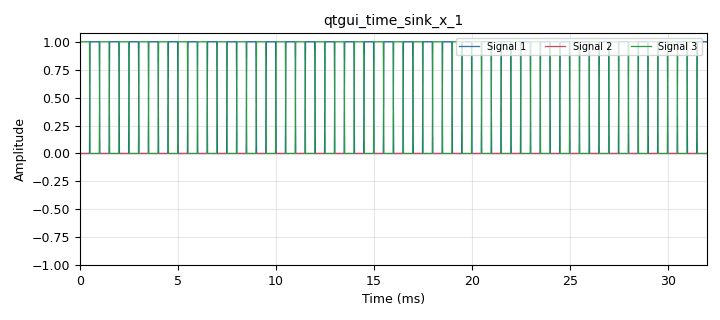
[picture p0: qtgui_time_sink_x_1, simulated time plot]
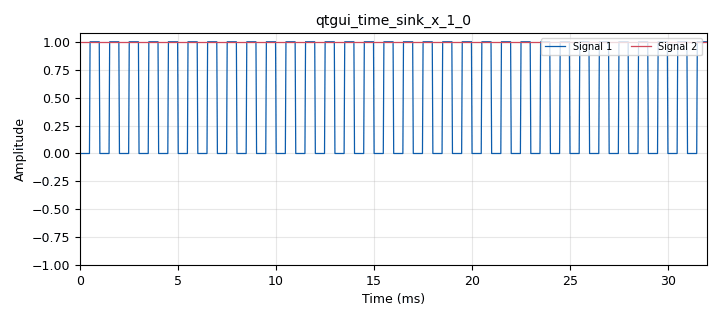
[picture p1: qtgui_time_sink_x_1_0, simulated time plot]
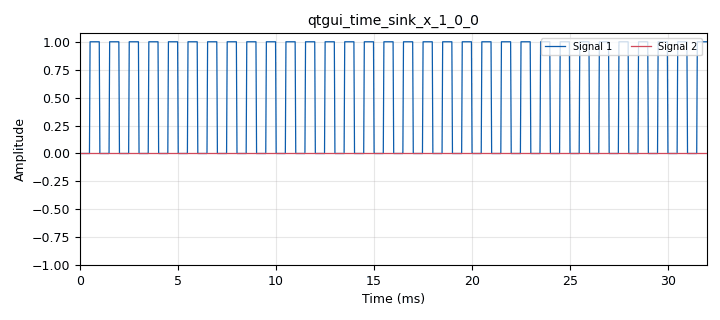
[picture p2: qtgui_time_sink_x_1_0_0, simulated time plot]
options:
  parameters:
    author: gefa
    generate_options: qt_gui
    id: and_or_xor
    output_language: python
    title: and_or_xor
  states: {}

blocks:
- name: samp_rate
  id: variable
  parameters:
    value: '32000'
  states: {}
- name: analog_const_source_x_0
  id: analog_const_source_x
  parameters:
    const: '1'
    type: byte
  states: {}
- name: analog_sig_source_x_0
  id: analog_sig_source_x
  parameters:
    amp: '1'
    freq: '1000'
    offset: '0'
    phase: '0'
    samp_rate: samp_rate
    type: byte
    waveform: analog.GR_SQR_WAVE
  states: {}
- name: analog_sig_source_x_1
  id: analog_sig_source_x
  parameters:
    amp: '1'
    freq: '1000'
    offset: '0'
    phase: '0'
    samp_rate: samp_rate
    type: byte
    waveform: analog.GR_SQR_WAVE
  states: {}
- name: blocks_and_xx_0
  id: blocks_and_xx
  parameters:
    type: byte
  states: {}
- name: blocks_null_sink_0
  id: blocks_null_sink
  parameters:
    type: complex
  states: {}
- name: blocks_null_source_0
  id: blocks_null_source
  parameters:
    type: complex
  states: {}
- name: blocks_or_xx_0
  id: blocks_or_xx
  parameters:
    type: byte
  states: {}
- name: blocks_throttle_0
  id: blocks_throttle
  parameters:
    samples_per_second: samp_rate
    type: complex
  states: {}
- name: blocks_uchar_to_float_0
  id: blocks_uchar_to_float
  parameters: {}
  states: {}
- name: blocks_uchar_to_float_1
  id: blocks_uchar_to_float
  parameters: {}
  states: {}
- name: blocks_uchar_to_float_2
  id: blocks_uchar_to_float
  parameters: {}
  states: {}
- name: blocks_uchar_to_float_3
  id: blocks_uchar_to_float
  parameters: {}
  states: {}
- name: blocks_uchar_to_float_3_0
  id: blocks_uchar_to_float
  parameters: {}
  states: {}
- name: blocks_xor_xx_0
  id: blocks_xor_xx
  parameters:
    type: byte
  states: {}
- name: blocks_xor_xx_1
  id: blocks_xor_xx
  parameters:
    type: byte
  states: {}
- name: note_0
  id: note
  parameters:
    note: Phase adjustment
  states: {}
- name: qtgui_time_sink_x_1
  id: qtgui_time_sink_x
  parameters:
    nconnections: '3'
    size: '1024'
    srate: samp_rate
    type: float
  states: {}
- name: qtgui_time_sink_x_1_0
  id: qtgui_time_sink_x
  parameters:
    nconnections: '2'
    size: '1024'
    srate: samp_rate
    type: float
  states: {}
- name: qtgui_time_sink_x_1_0_0
  id: qtgui_time_sink_x
  parameters:
    nconnections: '2'
    size: '1024'
    srate: samp_rate
    type: float
  states: {}

connections:
- [analog_const_source_x_0, '0', blocks_xor_xx_0, '1']
- [analog_sig_source_x_0, '0', blocks_and_xx_0, '0']
- [analog_sig_source_x_0, '0', blocks_or_xx_0, '0']
- [analog_sig_source_x_0, '0', blocks_uchar_to_float_3, '0']
- [analog_sig_source_x_0, '0', blocks_xor_xx_1, '0']
- [analog_sig_source_x_0, '0', blocks_xor_xx_1, '1']
- [analog_sig_source_x_1, '0', blocks_xor_xx_0, '0']
- [blocks_and_xx_0, '0', blocks_uchar_to_float_0, '0']
- [blocks_null_source_0, '0', blocks_throttle_0, '0']
- [blocks_or_xx_0, '0', blocks_uchar_to_float_1, '0']
- [blocks_throttle_0, '0', blocks_null_sink_0, '0']
- [blocks_uchar_to_float_0, '0', qtgui_time_sink_x_1, '1']
- [blocks_uchar_to_float_1, '0', qtgui_time_sink_x_1_0, '1']
- [blocks_uchar_to_float_2, '0', qtgui_time_sink_x_1_0_0, '1']
- [blocks_uchar_to_float_3, '0', qtgui_time_sink_x_1, '0']
- [blocks_uchar_to_float_3, '0', qtgui_time_sink_x_1_0, '0']
- [blocks_uchar_to_float_3, '0', qtgui_time_sink_x_1_0_0, '0']
- [blocks_uchar_to_float_3_0, '0', qtgui_time_sink_x_1, '2']
- [blocks_xor_xx_0, '0', blocks_and_xx_0, '1']
- [blocks_xor_xx_0, '0', blocks_or_xx_0, '1']
- [blocks_xor_xx_0, '0', blocks_uchar_to_float_3_0, '0']
- [blocks_xor_xx_1, '0', blocks_uchar_to_float_2, '0']

metadata:
  file_format: 1
